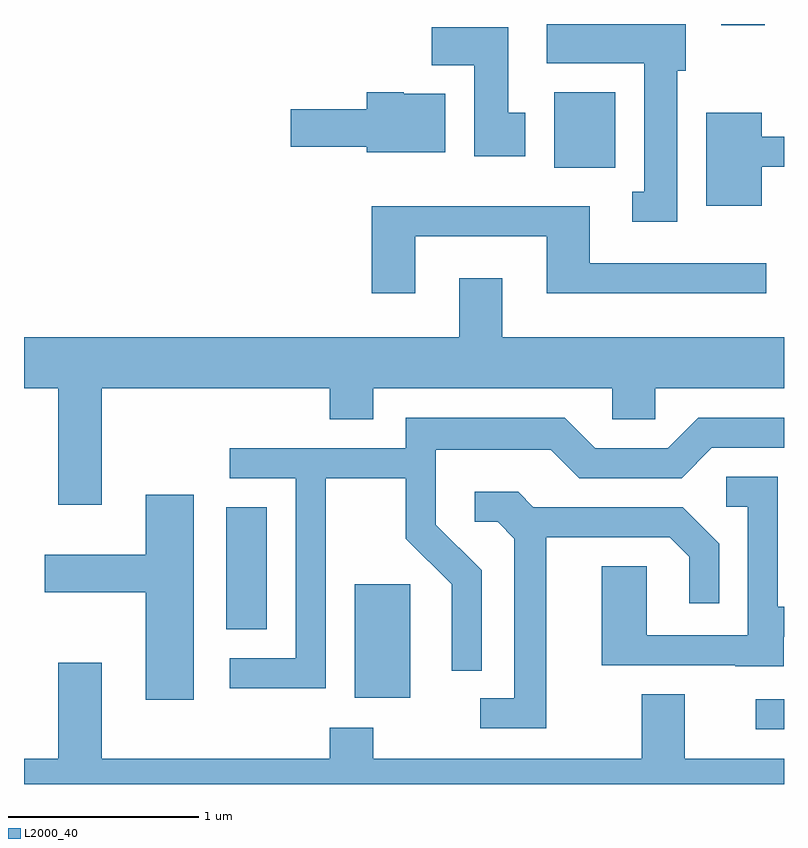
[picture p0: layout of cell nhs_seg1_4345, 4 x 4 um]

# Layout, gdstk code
import gdstk
lib = gdstk.Library(unit=1e-6, precision=1e-09)
def R(c, l, rs):  # rectangles x0, y0, x1, y1
    for r in rs: c.add(gdstk.rectangle(r[:2], r[2:], *l))
def P(c, l, *ps):  # polygons
    for p in ps: c.add(gdstk.Polygon(p, *l))
L2000_40 = (2000, 40)

nhs_seg1_4345 = lib.new_cell('nhs_seg1_4345')
R(nhs_seg1_4345, L2000_40, [(319.463,900.001,319.611,900.159), (317.351,900.166,317.644,900.764), (316.676,900.526,316.889,901.169), (318.401,902.956,318.724,903.354), (319.281,903.706,319.509,903.712)])
P(nhs_seg1_4345, L2000_40, [(319.049,903.466),(319.094,903.466),(319.094,903.712),(318.361,903.712),(318.361,903.506),(318.876,903.506),(318.876,902.829),(318.813,902.829),(318.813,902.671),(319.049,902.671)],
  [(318.249,903.244),(318.159,903.244),(318.159,903.694),(317.756,903.694),(317.756,903.496),(317.981,903.496),(317.981,903.016),(318.249,903.016)],
  [(317.829,903.344),(317.61,903.344),(317.61,903.354),(317.416,903.354),(317.416,903.264),(317.016,903.264),(317.016,903.066),(317.416,903.066),(317.416,903.036),(317.829,903.036)],
  [(319.494,902.961),(319.611,902.961),(319.611,903.119),(319.494,903.119),(319.494,903.244),(319.201,903.244),(319.201,902.756),(319.494,902.756)],
  [(317.669,902.596),(318.361,902.596),(318.361,902.296),(319.518,902.296),(319.518,902.454),(318.589,902.454),(318.589,902.754),(317.441,902.754),(317.441,902.296),(317.669,902.296)],
  [(316.019,901.796),(317.221,901.796),(317.221,901.631),(317.449,901.631),(317.449,901.796),(318.706,901.796),(318.706,901.631),(318.934,901.631),(318.934,901.796),(319.611,901.796),(319.611,902.064),(318.129,902.064),(318.129,902.374),(317.901,902.374),(317.901,902.064),(315.611,902.064),(315.611,901.796),(315.791,901.796),(315.791,901.181),(316.019,901.181)],
  [(317.199,901.321),(317.621,901.321),(317.621,901.004),(317.861,900.764),(317.861,900.308),(318.019,900.308),(318.019,900.837),(317.779,901.077),(317.779,901.471),(318.384,901.471),(318.534,901.321),(319.072,901.321),(319.232,901.481),(319.611,901.481),(319.611,901.639),(319.159,901.639),(318.999,901.479),(318.617,901.479),(318.457,901.639),(317.621,901.639),(317.621,901.479),(316.693,901.479),(316.693,901.321),(317.041,901.321),(317.041,900.374),(316.693,900.374),(316.693,900.216),(317.199,900.216)],
  [(319.609,900.486),(319.611,900.486),(319.611,900.644),(319.579,900.644),(319.579,901.329),(319.308,901.329),(319.308,901.171),(319.421,901.171),(319.421,900.494),(318.889,900.494),(318.889,900.859),(318.651,900.859),(318.651,900.336),(319.355,900.336),(319.355,900.331),(319.609,900.331)],
  [(318.359,901.011),(319.009,901.011),(319.111,900.909),(319.111,900.663),(319.269,900.663),(319.269,900.977),(319.077,901.169),(318.292,901.169),(318.212,901.249),(317.983,901.249),(317.983,901.091),(318.104,901.091),(318.191,901.004),(318.191,900.164),(318.013,900.164),(318.013,900.006),(318.359,900.006)],
  [(316.504,901.234),(316.251,901.234),(316.251,900.919),(315.721,900.919),(315.721,900.721),(316.251,900.721),(316.251,900.156),(316.504,900.156)],
  [(319.611,899.844),(319.089,899.844),(319.089,900.184),(318.861,900.184),(318.861,899.844),(317.449,899.844),(317.449,900.009),(317.221,900.009),(317.221,899.844),(316.019,899.844),(316.019,900.349),(315.791,900.349),(315.791,899.844),(315.611,899.844),(315.611,899.712),(319.611,899.712)])

lib.write_gds('nhs_seg1_4345.gds')
